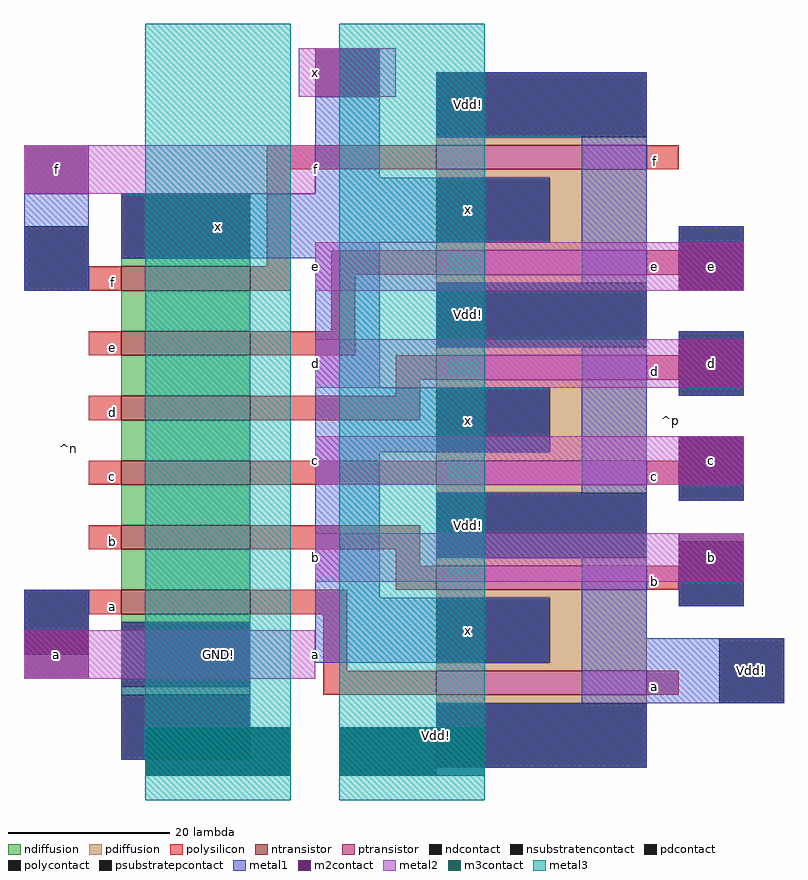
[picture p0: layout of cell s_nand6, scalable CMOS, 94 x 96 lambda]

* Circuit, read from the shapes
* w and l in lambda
.subckt s_nand6 GND! Vdd! a b c d e f x
M1 n1 a GND! GND! nfet w=16 l=3
M2 n2 b n1 GND! nfet w=16 l=3
M3 n3 c n2 GND! nfet w=16 l=3
M4 n4 d n3 GND! nfet w=16 l=3
M5 n5 e n4 GND! nfet w=16 l=3
M6 x f n5 GND! nfet w=16 l=3
M7 x a Vdd! Vdd! pfet w=26 l=3
M8 Vdd! b x Vdd! pfet w=26 l=3
M9 x c Vdd! Vdd! pfet w=26 l=3
M10 Vdd! d x Vdd! pfet w=26 l=3
M11 x e Vdd! Vdd! pfet w=26 l=3
M12 Vdd! f x Vdd! pfet w=26 l=3
.ends

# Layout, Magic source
magic
tech scmos
<< ndiffusion >>
rect -24 86 -8 87
rect -24 78 -8 83
rect -24 70 -8 75
rect -24 62 -8 67
rect -24 54 -8 59
rect -24 46 -8 51
rect -24 42 -8 43
rect -24 33 -8 34
<< pdiffusion >>
rect 15 101 41 102
rect 15 97 41 98
rect 29 89 41 97
rect 15 88 41 89
rect 15 84 41 85
rect 15 75 41 76
rect 15 71 41 72
rect 29 63 41 71
rect 15 62 41 63
rect 15 58 41 59
rect 15 49 41 50
rect 15 45 41 46
rect 29 37 41 45
rect 15 36 41 37
rect 15 32 41 33
<< ntransistor >>
rect -24 83 -8 86
rect -24 75 -8 78
rect -24 67 -8 70
rect -24 59 -8 62
rect -24 51 -8 54
rect -24 43 -8 46
<< ptransistor >>
rect 15 98 41 101
rect 15 85 41 88
rect 15 72 41 75
rect 15 59 41 62
rect 15 46 41 49
rect 15 33 41 36
<< polysilicon >>
rect -6 98 15 101
rect 41 98 45 101
rect -6 86 -3 98
rect -28 83 -24 86
rect -8 83 -3 86
rect 2 85 15 88
rect 41 85 45 88
rect 2 78 5 85
rect -28 75 -24 78
rect -8 75 5 78
rect 10 72 15 75
rect 41 72 45 75
rect 10 70 13 72
rect -28 67 -24 70
rect -8 67 13 70
rect -28 59 -24 62
rect -8 59 15 62
rect 41 59 45 62
rect -28 51 -24 54
rect -8 51 13 54
rect 10 49 13 51
rect 10 46 15 49
rect 41 46 45 49
rect -28 43 -24 46
rect -8 43 4 46
rect 1 36 4 43
rect 1 33 15 36
rect 41 33 45 36
<< ndcontact >>
rect -24 87 -8 95
rect -24 34 -8 42
<< pdcontact >>
rect 15 102 41 110
rect 15 89 29 97
rect 15 76 41 84
rect 15 63 29 71
rect 15 50 41 58
rect 15 37 29 45
rect 15 24 41 32
<< psubstratepcontact >>
rect -24 25 -8 33
<< nsubstratencontact >>
rect 50 32 58 40
<< polycontact >>
rect -36 83 -28 91
rect 45 83 53 91
rect 45 70 53 78
rect 45 57 53 65
rect -36 38 -28 46
rect 45 44 53 52
<< metal1 >>
rect 0 97 8 107
rect 15 102 41 110
rect 0 95 29 97
rect -36 83 -28 95
rect -24 89 29 95
rect -24 87 8 89
rect 0 71 8 87
rect 33 84 41 102
rect 15 76 41 84
rect 45 89 53 91
rect 0 63 29 71
rect -36 41 -28 46
rect 0 45 8 63
rect 33 58 41 76
rect 45 77 53 78
rect 45 70 53 71
rect 15 50 41 58
rect 45 57 53 59
rect -24 29 -8 42
rect 0 37 29 45
rect 33 40 41 50
rect 45 44 53 47
rect 33 32 58 40
rect -24 25 -21 29
rect 15 24 41 32
<< m2contact >>
rect 0 107 8 113
rect -36 95 -28 101
rect 45 83 53 89
rect 45 71 53 77
rect 45 59 53 65
rect -36 35 -28 41
rect 45 47 53 53
rect -21 23 -3 29
rect 3 23 15 29
<< metal2 >>
rect -2 107 10 113
rect -36 95 0 101
rect 0 83 53 89
rect 0 71 53 77
rect 0 59 53 65
rect 0 47 53 53
rect -36 35 0 41
<< m3contact >>
rect -21 23 -3 29
rect 3 23 21 29
<< metal3 >>
rect -21 20 -3 116
rect 3 20 21 116
<< labels >>
rlabel metal2 0 35 0 41 7 a
rlabel metal2 0 59 0 65 3 c
rlabel metal2 0 47 0 53 3 b
rlabel metal2 0 71 0 77 3 d
rlabel metal2 0 83 0 89 3 e
rlabel metal2 0 95 0 101 7 f
rlabel metal2 0 107 0 113 1 x
rlabel metal1 19 41 19 41 1 x
rlabel metal1 19 54 19 54 5 Vdd!
rlabel metal1 19 67 19 67 5 x
rlabel metal1 19 80 19 80 1 Vdd!
rlabel metal1 19 93 19 93 1 x
rlabel metal1 19 106 19 106 5 Vdd!
rlabel metal1 -12 38 -12 38 1 GND!
rlabel metal1 -12 91 -12 91 1 x
rlabel polysilicon -25 44 -25 44 3 a
rlabel polysilicon -25 52 -25 52 3 b
rlabel polysilicon -25 60 -25 60 3 c
rlabel polysilicon -25 68 -25 68 3 d
rlabel polysilicon -25 76 -25 76 3 e
rlabel polysilicon -25 84 -25 84 3 f
rlabel polysilicon 42 47 42 47 1 b
rlabel polysilicon 42 34 42 34 1 a
rlabel polysilicon 42 60 42 60 1 c
rlabel polysilicon 42 73 42 73 1 d
rlabel polysilicon 42 86 42 86 1 e
rlabel polysilicon 42 99 42 99 1 f
rlabel m2contact 15 28 15 28 1 Vdd!
rlabel metal1 54 36 54 36 7 Vdd!
rlabel space 29 23 59 111 3 ^p
rlabel metal2 -32 38 -32 38 3 a
rlabel metal2 -32 98 -32 98 3 f
rlabel metal2 49 50 49 50 1 b
rlabel metal2 49 62 49 62 1 c
rlabel metal2 49 74 49 74 1 d
rlabel metal2 49 86 49 86 1 e
rlabel space -37 25 -24 102 7 ^n
<< end >>
